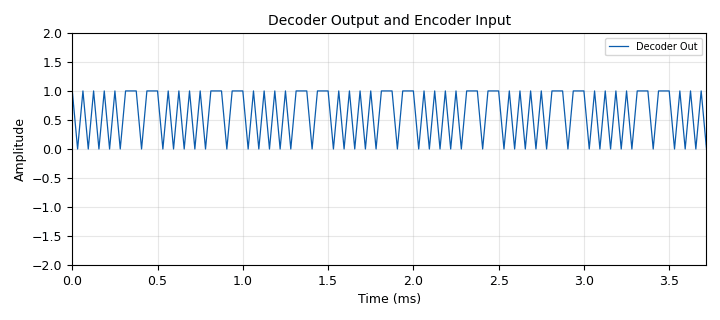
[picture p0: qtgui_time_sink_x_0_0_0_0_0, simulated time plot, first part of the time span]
<?xml version='1.0' encoding='utf-8'?>
<?grc format='1' created='3.7.11'?>
<flow_graph>
<block>
<key>options</key>
<param><key>id</key><value>top_block</value></param>
<param><key>generate_options</key><value>qt_gui</value></param>
</block>
<block>
<key>variable</key>
<param><key>id</key><value>DataSize</value></param>
<param><key>value</key><value>512</value></param>
</block>
<block>
<key>variable</key>
<param><key>id</key><value>FrameBits</value></param>
<param><key>value</key><value>2048</value></param>
</block>
<block>
<key>variable</key>
<param><key>id</key><value>PackRate</value></param>
<param><key>value</key><value>8</value></param>
</block>
<block>
<key>variable</key>
<param><key>id</key><value>UnpackRate</value></param>
<param><key>value</key><value>8</value></param>
</block>
<block>
<key>variable_cc_encoder_def</key>
<param><key>id</key><value>encoder</value></param>
<param><key>padding</key><value>True</value></param>
<param><key>k</key><value>7</value></param>
<param><key>framebits</key><value>FrameBits*PackRate</value></param>
<param><key>ndim</key><value>0</value></param>
<param><key>polys</key><value>[79,109]</value></param>
<param><key>rate</key><value>2</value></param>
<param><key>state_start</key><value>0</value></param>
<param><key>mode</key><value>fec.CC_STREAMING</value></param>
</block>
<block>
<key>variable_ccsds_encoder_def</key>
<param><key>id</key><value>encoder_0</value></param>
<param><key>framebits</key><value>2048</value></param>
<param><key>ndim</key><value>0</value></param>
<param><key>state_start</key><value>0</value></param>
<param><key>mode</key><value>fec.CC_STREAMING</value></param>
</block>
<block>
<key>variable</key>
<param><key>id</key><value>packetLength</value></param>
<param><key>value</key><value>8</value></param>
</block>
<block>
<key>variable</key>
<param><key>id</key><value>samp_rate</value></param>
<param><key>value</key><value>32000</value></param>
</block>
<block>
<key>blocks_char_to_float</key>
<param><key>id</key><value>blocks_char_to_float_0</value></param>
<param><key>_enabled</key><value>0</value></param>
<param><key>scale</key><value>1</value></param>
</block>
<block>
<key>blocks_char_to_float</key>
<param><key>id</key><value>blocks_char_to_float_0_0</value></param>
<param><key>_enabled</key><value>0</value></param>
<param><key>scale</key><value>1</value></param>
</block>
<block>
<key>blocks_char_to_float</key>
<param><key>id</key><value>blocks_char_to_float_0_0_0</value></param>
<param><key>scale</key><value>1</value></param>
</block>
<block>
<key>blocks_file_sink</key>
<param><key>id</key><value>blocks_file_sink_0</value></param>
<param><key>_enabled</key><value>0</value></param>
<param><key>file</key><value>/home/xongile/Lab-Project/Sent.dat</value></param>
<param><key>type</key><value>byte</value></param>
</block>
<block>
<key>blocks_file_sink</key>
<param><key>id</key><value>blocks_file_sink_0_0</value></param>
<param><key>file</key><value>/home/xongile/Lab-Project/Sent.dat</value></param>
<param><key>type</key><value>byte</value></param>
</block>
<block>
<key>blocks_file_source</key>
<param><key>id</key><value>blocks_file_source_0</value></param>
<param><key>_enabled</key><value>0</value></param>
<param><key>file</key><value>/home/xongile/Lab-Project/5MB.jpg</value></param>
<param><key>type</key><value>byte</value></param>
<param><key>repeat</key><value>False</value></param>
</block>
<block>
<key>blocks_stream_to_tagged_stream</key>
<param><key>id</key><value>blocks_stream_to_tagged_stream_0</value></param>
<param><key>len_tag_key</key><value>"packet_len"</value></param>
<param><key>packet_len</key><value>packetLength</value></param>
<param><key>type</key><value>byte</value></param>
</block>
<block>
<key>blocks_throttle</key>
<param><key>id</key><value>blocks_throttle_0</value></param>
<param><key>_enabled</key><value>0</value></param>
<param><key>samples_per_second</key><value>samp_rate</value></param>
<param><key>type</key><value>byte</value></param>
</block>
<block>
<key>blocks_unpack_k_bits_bb</key>
<param><key>id</key><value>blocks_unpack_k_bits_bb_0</value></param>
<param><key>_enabled</key><value>0</value></param>
<param><key>k</key><value>UnpackRate</value></param>
</block>
<block>
<key>blocks_vector_source_x</key>
<param><key>id</key><value>blocks_vector_source_x_1</value></param>
<param><key>type</key><value>byte</value></param>
<param><key>repeat</key><value>False</value></param>
<param><key>vector</key><value>1024*DataSize*(1, 0,1,0,1,0,1,0,1, 0,1,1,1,0,1,1)</value></param>
</block>
<block>
<key>fec_extended_tagged_encoder</key>
<param><key>id</key><value>fec_extended_tagged_encoder_0</value></param>
<param><key>encoder_list</key><value>encoder</value></param>
<param><key>lentagname</key><value>packet_len</value></param>
<param><key>mtu</key><value>1500</value></param>
<param><key>puncpat</key><value>'11'</value></param>
</block>
<block>
<key>qtgui_time_sink_x</key>
<param><key>id</key><value>qtgui_time_sink_x_0_0_0_0</value></param>
<param><key>_enabled</key><value>0</value></param>
<param><key>color1</key><value>"blue"</value></param>
<param><key>label1</key><value>"Decoder Out"</value></param>
<param><key>color2</key><value>"red"</value></param>
<param><key>label2</key><value>"Encoder In"</value></param>
<param><key>name</key><value>"Decoder Output and Encoder Input"</value></param>
<param><key>nconnections</key><value>2</value></param>
<param><key>size</key><value>1024</value></param>
<param><key>srate</key><value>samp_rate</value></param>
<param><key>type</key><value>float</value></param>
<param><key>ymax</key><value>2</value></param>
<param><key>ymin</key><value>-2</value></param>
</block>
<block>
<key>qtgui_time_sink_x</key>
<param><key>id</key><value>qtgui_time_sink_x_0_0_0_0_0</value></param>
<param><key>color1</key><value>"blue"</value></param>
<param><key>label1</key><value>"Decoder Out"</value></param>
<param><key>name</key><value>"Decoder Output and Encoder Input"</value></param>
<param><key>size</key><value>1024</value></param>
<param><key>srate</key><value>samp_rate</value></param>
<param><key>type</key><value>float</value></param>
<param><key>update_time</key><value>10</value></param>
<param><key>ymax</key><value>2</value></param>
<param><key>ymin</key><value>-2</value></param>
</block>
<connection><source_block_id>blocks_char_to_float_0</source_block_id><sink_block_id>qtgui_time_sink_x_0_0_0_0</sink_block_id><source_key>0</source_key><sink_key>0</sink_key></connection>
<connection><source_block_id>blocks_char_to_float_0_0</source_block_id><sink_block_id>qtgui_time_sink_x_0_0_0_0</sink_block_id><source_key>0</source_key><sink_key>1</sink_key></connection>
<connection><source_block_id>blocks_char_to_float_0_0_0</source_block_id><sink_block_id>qtgui_time_sink_x_0_0_0_0_0</sink_block_id><source_key>0</source_key><sink_key>0</sink_key></connection>
<connection><source_block_id>blocks_file_source_0</source_block_id><sink_block_id>blocks_throttle_0</sink_block_id><source_key>0</source_key><sink_key>0</sink_key></connection>
<connection><source_block_id>blocks_stream_to_tagged_stream_0</source_block_id><sink_block_id>blocks_char_to_float_0_0</sink_block_id><source_key>0</source_key><sink_key>0</sink_key></connection>
<connection><source_block_id>blocks_stream_to_tagged_stream_0</source_block_id><sink_block_id>blocks_char_to_float_0_0_0</sink_block_id><source_key>0</source_key><sink_key>0</sink_key></connection>
<connection><source_block_id>blocks_stream_to_tagged_stream_0</source_block_id><sink_block_id>fec_extended_tagged_encoder_0</sink_block_id><source_key>0</source_key><sink_key>0</sink_key></connection>
<connection><source_block_id>blocks_throttle_0</source_block_id><sink_block_id>blocks_unpack_k_bits_bb_0</sink_block_id><source_key>0</source_key><sink_key>0</sink_key></connection>
<connection><source_block_id>blocks_unpack_k_bits_bb_0</source_block_id><sink_block_id>blocks_stream_to_tagged_stream_0</sink_block_id><source_key>0</source_key><sink_key>0</sink_key></connection>
<connection><source_block_id>blocks_vector_source_x_1</source_block_id><sink_block_id>blocks_stream_to_tagged_stream_0</sink_block_id><source_key>0</source_key><sink_key>0</sink_key></connection>
<connection><source_block_id>fec_extended_tagged_encoder_0</source_block_id><sink_block_id>blocks_char_to_float_0</sink_block_id><source_key>0</source_key><sink_key>0</sink_key></connection>
<connection><source_block_id>fec_extended_tagged_encoder_0</source_block_id><sink_block_id>blocks_file_sink_0</sink_block_id><source_key>0</source_key><sink_key>0</sink_key></connection>
<connection><source_block_id>fec_extended_tagged_encoder_0</source_block_id><sink_block_id>blocks_file_sink_0_0</sink_block_id><source_key>0</source_key><sink_key>0</sink_key></connection>
</flow_graph>
